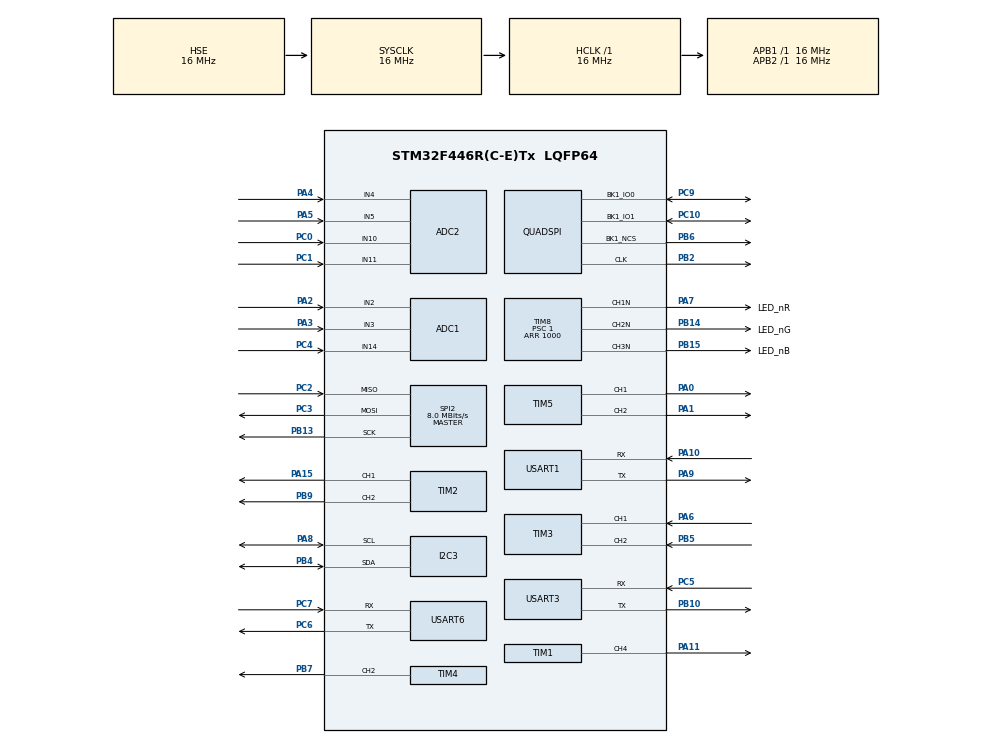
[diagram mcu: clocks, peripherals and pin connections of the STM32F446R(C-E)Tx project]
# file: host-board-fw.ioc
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ADC1.Channel-95\#ChannelRegularConversion=ADC_CHANNEL_2
ADC1.NbrOfConversionFlag=1
ADC1.Rank-95\#ChannelRegularConversion=1
ADC1.SamplingTime-95\#ChannelRegularConversion=ADC_SAMPLETIME_3CYCLES
ADC1.master=1
ADC2.Channel-88\#ChannelRegularConversion=ADC_CHANNEL_4
ADC2.NbrOfConversionFlag=1
ADC2.Rank-88\#ChannelRegularConversion=1
ADC2.SamplingTime-88\#ChannelRegularConversion=ADC_SAMPLETIME_3CYCLES
Mcu.Family=STM32F4
Mcu.Name=STM32F446R(C-E)Tx
Mcu.Package=LQFP64
Mcu.UserConstants=LED_TIM_ARR,1000
NVIC.PriorityGroup=NVIC_PRIORITYGROUP_4
PA0-WKUP.Signal=S_TIM5_CH1
PA1.Signal=S_TIM5_CH2
PA10.Mode=Asynchronous
PA10.Signal=USART1_RX
PA11.Signal=S_TIM1_CH4
PA13.Mode=Trace_Asynchronous_SW
PA13.Signal=SYS_JTMS-SWDIO
PA14.Mode=Trace_Asynchronous_SW
PA14.Signal=SYS_JTCK-SWCLK
PA15.Signal=S_TIM2_CH1_ETR
PA2.Signal=ADCx_IN2
PA3.Signal=ADCx_IN3
PA4.Signal=ADCx_IN4
PA5.Signal=ADCx_IN5
PA6.Signal=S_TIM3_CH1
PA7.GPIO_Label=LED_nR
PA7.Mode=PWM Generation1 CH1N
PA7.Signal=TIM8_CH1N
PA8.Mode=I2C
PA8.Signal=I2C3_SCL
PA9.Mode=Asynchronous
PA9.Signal=USART1_TX
PB10.Mode=Asynchronous
PB10.Signal=USART3_TX
PB13.Mode=Full_Duplex_Master
PB13.Signal=SPI2_SCK
PB14.GPIO_Label=LED_nG
PB14.Mode=PWM Generation2 CH2N
PB14.Signal=TIM8_CH2N
PB15.GPIO_Label=LED_nB
PB15.Mode=PWM Generation3 CH3N
PB15.Signal=TIM8_CH3N
PB2.Mode=Single Bank 1 2IOs
PB2.Signal=QUADSPI_CLK
PB3.Mode=Trace_Asynchronous_SW
PB3.Signal=SYS_JTDO-SWO
PB4.Mode=I2C
PB4.Signal=I2C3_SDA
PB5.Signal=S_TIM3_CH2
PB6.Mode=Single Bank 1 2IOs
PB6.Signal=QUADSPI_BK1_NCS
PB7.Signal=S_TIM4_CH2
PB9.Signal=S_TIM2_CH2
PC0.Signal=ADCx_IN10
PC1.Signal=ADCx_IN11
PC10.Mode=Single Bank 1 2IOs
PC10.Signal=QUADSPI_BK1_IO1
PC14-OSC32_IN.Mode=LSE-External-Oscillator
PC14-OSC32_IN.Signal=RCC_OSC32_IN
PC15-OSC32_OUT.Mode=LSE-External-Oscillator
PC15-OSC32_OUT.Signal=RCC_OSC32_OUT
PC2.Mode=Full_Duplex_Master
PC2.Signal=SPI2_MISO
PC3.Mode=Full_Duplex_Master
PC3.Signal=SPI2_MOSI
PC4.Signal=ADCx_IN14
PC5.Mode=Asynchronous
PC5.Signal=USART3_RX
PC6.Mode=Asynchronous
PC6.Signal=USART6_TX
PC7.Mode=Asynchronous
PC7.Signal=USART6_RX
PC9.Mode=Single Bank 1 2IOs
PC9.Signal=QUADSPI_BK1_IO0
PH0-OSC_IN.Mode=HSE-External-Oscillator
PH0-OSC_IN.Signal=RCC_OSC_IN
PH1-OSC_OUT.Mode=HSE-External-Oscillator
PH1-OSC_OUT.Signal=RCC_OSC_OUT
ProjectManager.HeapSize=0x200
ProjectManager.StackSize=0x400
ProjectManager.TargetToolchain=SW4STM32
RCC.AHBFreq_Value=16000000
RCC.APB1Freq_Value=16000000
RCC.APB1TimFreq_Value=16000000
RCC.APB2Freq_Value=16000000
RCC.APB2TimFreq_Value=16000000
RCC.CortexFreq_Value=16000000
RCC.HCLKFreq_Value=16000000
RCC.HSE_VALUE=16000000
RCC.PLLM=8
RCC.PLLN=72
RCC.PLLQ=3
RCC.PLLSourceVirtual=RCC_PLLSOURCE_HSE
RCC.RCC_RTC_Clock_Source_FROM_HSE=RCC_RTCCLKSOURCE_HSE_DIV31
RCC.SYSCLKFreq_VALUE=16000000
RCC.SYSCLKSource=RCC_SYSCLKSOURCE_HSE
RCC.USBFreq_Value=48000000
RCC.VCOOutputFreq_Value=144000000
SH.ADCx_IN10.0=ADC2_IN10,IN10
SH.ADCx_IN11.0=ADC2_IN11,IN11
SH.ADCx_IN14.0=ADC1_IN14,IN14
SH.ADCx_IN2.0=ADC1_IN2,IN2
SH.ADCx_IN3.0=ADC1_IN3,IN3
SH.ADCx_IN4.0=ADC2_IN4,IN4
SH.ADCx_IN5.0=ADC2_IN5,IN5
SH.S_TIM1_CH4.0=TIM1_CH4,Output Compare4 CH4
SH.S_TIM2_CH1_ETR.0=TIM2_CH1,Output Compare1 CH1
SH.S_TIM2_CH2.0=TIM2_CH2,Output Compare2 CH2
SH.S_TIM3_CH1.0=TIM3_CH1,TriggerSource_TI1FP1
SH.S_TIM3_CH2.0=TIM3_CH2,Input_Capture2_from_TI2
SH.S_TIM4_CH2.0=TIM4_CH2,Output Compare2 CH2
SH.S_TIM5_CH1.0=TIM5_CH1,Output Compare1 CH1
SH.S_TIM5_CH2.0=TIM5_CH2,Output Compare2 CH2
SPI2.CalculateBaudRate=8.0 MBits/s
SPI2.Direction=SPI_DIRECTION_2LINES
SPI2.Mode=SPI_MODE_MASTER
SPI2.VirtualType=VM_MASTER
TIM1.Channel-Output\ Compare4\ CH4=TIM_CHANNEL_4
TIM2.Channel-Output\ Compare1\ CH1=TIM_CHANNEL_1
TIM2.Channel-Output\ Compare2\ CH2=TIM_CHANNEL_2
TIM3.Channel-Input_Capture2_from_TI2=TIM_CHANNEL_2
TIM4.Channel-Output\ Compare2\ CH2=TIM_CHANNEL_2
TIM5.Channel-Output\ Compare1\ CH1=TIM_CHANNEL_1
TIM5.Channel-Output\ Compare2\ CH2=TIM_CHANNEL_2
TIM8.Channel-PWM\ Generation1\ CH1N=TIM_CHANNEL_1
TIM8.Channel-PWM\ Generation2\ CH2N=TIM_CHANNEL_2
TIM8.Channel-PWM\ Generation3\ CH3N=TIM_CHANNEL_3
TIM8.OCMode_PWM-PWM\ Generation1\ CH1N=TIM_OCMODE_PWM2
TIM8.OCMode_PWM-PWM\ Generation2\ CH2N=TIM_OCMODE_PWM2
TIM8.OCMode_PWM-PWM\ Generation3\ CH3N=TIM_OCMODE_PWM2
TIM8.Period=1000
TIM8.Prescaler=1
USART1.VirtualMode=VM_ASYNC
USART3.VirtualMode=VM_ASYNC
USART6.VirtualMode=VM_ASYNC
VP_RTC_VS_RTC_Activate.Mode=RTC_Enabled
VP_TIM1_VS_ClockSourceINT.Mode=Internal
VP_TIM2_VS_ClockSourceINT.Mode=Internal
VP_TIM3_VS_ControllerModeClock.Mode=Clock Mode
VP_TIM4_VS_ClockSourceINT.Mode=Internal
VP_TIM5_VS_ClockSourceINT.Mode=Internal
VP_TIM8_VS_ClockSourceINT.Mode=Internal
board=host-board-fw

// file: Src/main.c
/**
  ******************************************************************************
  * @file           : main.c
  * @brief          : Main program body
  ******************************************************************************
  ** This notice applies to any and all portions of this file
  * that are not between comment pairs USER CODE BEGIN and
  * USER CODE END. Other portions of this file, whether
  * inserted by the user or by software development tools
  * are owned by their respective copyright owners.
  *
  * COPYRIGHT(c) 2019 STMicroelectronics
  *
  * Redistribution and use in source and binary forms, with or without modification,
  * are permitted provided that the following conditions are met:
  *   1. Redistributions of source code must retain the above copyright notice,
  *      this list of conditions and the following disclaimer.
  *   2. Redistributions in binary form must reproduce the above copyright notice,
  *      this list of conditions and the following disclaimer in the documentation
  *      and/or other materials provided with the distribution.
  *   3. Neither the name of STMicroelectronics nor the names of its contributors
  *      may be used to endorse or promote products derived from this software
  *      without specific prior written permission.
  *
  * THIS SOFTWARE IS PROVIDED BY THE COPYRIGHT HOLDERS AND CONTRIBUTORS "AS IS"
  * AND ANY EXPRESS OR IMPLIED WARRANTIES, INCLUDING, BUT NOT LIMITED TO, THE
  * IMPLIED WARRANTIES OF MERCHANTABILITY AND FITNESS FOR A PARTICULAR PURPOSE ARE
  * DISCLAIMED. IN NO EVENT SHALL THE COPYRIGHT HOLDER OR CONTRIBUTORS BE LIABLE
  * FOR ANY DIRECT, INDIRECT, INCIDENTAL, SPECIAL, EXEMPLARY, OR CONSEQUENTIAL
  * DAMAGES (INCLUDING, BUT NOT LIMITED TO, PROCUREMENT OF SUBSTITUTE GOODS OR
  * SERVICES; LOSS OF USE, DATA, OR PROFITS; OR BUSINESS INTERRUPTION) HOWEVER
  * CAUSED AND ON ANY THEORY OF LIABILITY, WHETHER IN CONTRACT, STRICT LIABILITY,
  * OR TORT (INCLUDING NEGLIGENCE OR OTHERWISE) ARISING IN ANY WAY OUT OF THE USE
  * OF THIS SOFTWARE, EVEN IF ADVISED OF THE POSSIBILITY OF SUCH DAMAGE.
  *
  ******************************************************************************
  */
#include "main.h"
#include "stm32f4xx_hal.h"
#include "adc.h"
#include "i2c.h"
#include "quadspi.h"
#include "rtc.h"
#include "spi.h"
#include "tim.h"
#include "usart.h"
#include "gpio.h"

/* USER CODE BEGIN PV */
/* Private variables ---------------------------------------------------------*/

/* USER CODE END PV */

void SystemClock_Config(void);

/* USER CODE BEGIN PFP */
/* Private function prototypes -----------------------------------------------*/

/* USER CODE END PFP */

/* USER CODE BEGIN 0 */
void led_set_rgb(uint16_t r, uint16_t g, uint16_t b) {
	LL_TIM_OC_SetCompareCH1(TIM8, r);
	LL_TIM_OC_SetCompareCH2(TIM8, g);
	LL_TIM_OC_SetCompareCH3(TIM8, b);
}

void led_init() {
	LL_TIM_CC_EnableChannel(TIM8, LL_TIM_CHANNEL_CH1N);
	LL_TIM_CC_EnableChannel(TIM8, LL_TIM_CHANNEL_CH2N);
	LL_TIM_CC_EnableChannel(TIM8, LL_TIM_CHANNEL_CH3N);
	LL_TIM_EnableAutomaticOutput(TIM8);
	LL_TIM_EnableCounter(TIM8);

	LL_GPIO_SetOutputPin(GPIOA, LL_GPIO_PIN_7);
	LL_GPIO_SetOutputPin(GPIOB, LL_GPIO_PIN_14);
	LL_GPIO_SetOutputPin(GPIOB, LL_GPIO_PIN_15);

	led_set_rgb(0,0,0);
}

/* USER CODE END 0 */

int main(void)
{

  /* MCU Configuration----------------------------------------------------------*/

  /* Reset of all peripherals, Initializes the Flash interface and the Systick. */
  HAL_Init();

  /* Configure the system clock */
  SystemClock_Config();

  /* Initialize all configured peripherals */
  MX_GPIO_Init();
  MX_ADC1_Init();
  MX_ADC2_Init();
  MX_I2C3_Init();
  MX_SPI2_Init();
  MX_TIM1_Init();
  MX_TIM2_Init();
  MX_TIM3_Init();
  MX_TIM4_Init();
  MX_TIM5_Init();
  MX_TIM8_Init();
  MX_USART1_UART_Init();
  MX_USART3_UART_Init();
  MX_USART6_UART_Init();
  MX_QUADSPI_Init();
  MX_RTC_Init();
  /* USER CODE BEGIN 2 */

  led_init();
  /* USER CODE END 2 */

  /* Infinite loop */
  /* USER CODE BEGIN WHILE */
  while (1) {
	  led_set_rgb(50, 0, 0);
	  HAL_Delay(100);
	  led_set_rgb(0, 50, 0);
	  HAL_Delay(100);
	  led_set_rgb(0, 0, 50);
	  HAL_Delay(100);
  /* USER CODE END WHILE */

  }

}

void SystemClock_Config(void)
{

  RCC_OscInitTypeDef RCC_OscInitStruct;
  RCC_ClkInitTypeDef RCC_ClkInitStruct;
  RCC_PeriphCLKInitTypeDef PeriphClkInitStruct;

    /**Configure the main internal regulator output voltage
    */
  __HAL_RCC_PWR_CLK_ENABLE();

  __HAL_PWR_VOLTAGESCALING_CONFIG(PWR_REGULATOR_VOLTAGE_SCALE3);

    /**Initializes the CPU, AHB and APB busses clocks
    */
  RCC_OscInitStruct.OscillatorType = RCC_OSCILLATORTYPE_LSI|RCC_OSCILLATORTYPE_HSE;
  RCC_OscInitStruct.HSEState = RCC_HSE_ON;
  RCC_OscInitStruct.LSEState = RCC_LSE_ON;
  RCC_OscInitStruct.LSIState = RCC_LSI_ON;
  RCC_OscInitStruct.PLL.PLLState = RCC_PLL_NONE;
  if (HAL_RCC_OscConfig(&RCC_OscInitStruct) != HAL_OK)
  {
    _Error_Handler(__FILE__, __LINE__);
  }

    /**Initializes the CPU, AHB and APB busses clocks
    */
  RCC_ClkInitStruct.ClockType = RCC_CLOCKTYPE_HCLK|RCC_CLOCKTYPE_SYSCLK
                              |RCC_CLOCKTYPE_PCLK1|RCC_CLOCKTYPE_PCLK2;
  RCC_ClkInitStruct.SYSCLKSource = RCC_SYSCLKSOURCE_HSE;
  RCC_ClkInitStruct.AHBCLKDivider = RCC_SYSCLK_DIV1;
  RCC_ClkInitStruct.APB1CLKDivider = RCC_HCLK_DIV1;
  RCC_ClkInitStruct.APB2CLKDivider = RCC_HCLK_DIV1;

  if (HAL_RCC_ClockConfig(&RCC_ClkInitStruct, FLASH_LATENCY_0) != HAL_OK)
  {
    _Error_Handler(__FILE__, __LINE__);
  }

  PeriphClkInitStruct.PeriphClockSelection = RCC_PERIPHCLK_RTC;
  PeriphClkInitStruct.RTCClockSelection = RCC_RTCCLKSOURCE_LSI;
  if (HAL_RCCEx_PeriphCLKConfig(&PeriphClkInitStruct) != HAL_OK)
  {
    _Error_Handler(__FILE__, __LINE__);
  }

    /**Configure the Systick interrupt time
    */
  HAL_SYSTICK_Config(HAL_RCC_GetHCLKFreq()/1000);

    /**Configure the Systick
    */
  HAL_SYSTICK_CLKSourceConfig(SYSTICK_CLKSOURCE_HCLK);

  /* SysTick_IRQn interrupt configuration */
  HAL_NVIC_SetPriority(SysTick_IRQn, 0, 0);
}

void _Error_Handler(char *file, int line)
{
  while(1)
  {
  }
}

/************************ (C) COPYRIGHT STMicroelectronics *****END OF FILE****/
